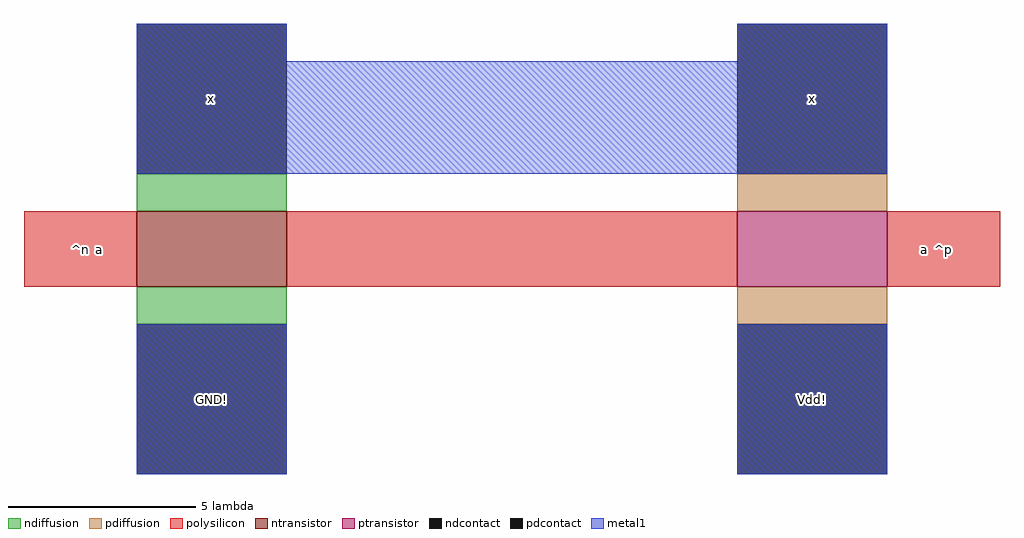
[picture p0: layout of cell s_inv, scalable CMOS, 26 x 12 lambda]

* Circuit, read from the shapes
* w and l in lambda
.subckt s_inv GND! Vdd! a x
M1 x a GND! VSUBS nfet w=4 l=2
M2 x a Vdd! NWELL pfet w=4 l=2
.ends

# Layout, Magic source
magic
tech scmos
<< ndiffusion >>
rect 80 439 84 440
rect 80 436 84 437
<< pdiffusion >>
rect 96 439 100 440
rect 96 436 100 437
<< ntransistor >>
rect 80 437 84 439
<< ptransistor >>
rect 96 437 100 439
<< polysilicon >>
rect 77 437 80 439
rect 84 437 96 439
rect 100 437 103 439
<< ndcontact >>
rect 80 440 84 444
rect 80 432 84 436
<< pdcontact >>
rect 96 440 100 444
rect 96 432 100 436
<< metal1 >>
rect 80 443 84 444
rect 96 443 100 444
rect 80 440 100 443
rect 80 432 84 436
rect 96 432 100 436
<< labels >>
rlabel polysilicon 79 438 79 438 3 a
rlabel polysilicon 101 438 101 438 7 a
rlabel space 77 432 80 444 7 ^n
rlabel space 100 432 103 444 3 ^p
rlabel ndcontact 82 434 82 434 2 GND!
rlabel pdcontact 98 434 98 434 8 Vdd!
rlabel ndcontact 82 442 82 442 4 x
rlabel pdcontact 98 442 98 442 6 x
<< end >>
